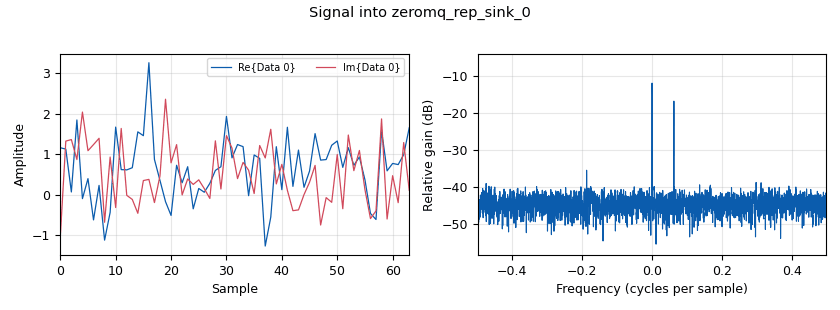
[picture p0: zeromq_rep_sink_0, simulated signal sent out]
<?xml version='1.0' encoding='utf-8'?>
<flow_graph>
<block>
<key>options</key>
<param><key>id</key><value>top_block</value></param>
<param><key>generate_options</key><value>wx_gui</value></param>
<param><key>category</key><value>Custom</value></param>
</block>
<block>
<key>variable</key>
<param><key>id</key><value>samp_rate</value></param>
<param><key>value</key><value>32000</value></param>
</block>
<block>
<key>analog_sig_source_x</key>
<param><key>id</key><value>analog_sig_source_x_0</value></param>
<param><key>type</key><value>complex</value></param>
<param><key>samp_rate</key><value>samp_rate</value></param>
<param><key>waveform</key><value>analog.GR_TRI_WAVE</value></param>
<param><key>freq</key><value>2000</value></param>
<param><key>amp</key><value>1</value></param>
<param><key>offset</key><value>0</value></param>
</block>
<block>
<key>analog_fastnoise_source_x</key>
<param><key>id</key><value>analog_fastnoise_source_x_0</value></param>
<param><key>type</key><value>complex</value></param>
<param><key>noise_type</key><value>analog.GR_GAUSSIAN</value></param>
<param><key>amp</key><value>1</value></param>
<param><key>seed</key><value>0</value></param>
<param><key>samples</key><value>8192</value></param>
</block>
<block>
<key>blocks_add_xx</key>
<param><key>id</key><value>blocks_add_xx_0</value></param>
<param><key>type</key><value>complex</value></param>
</block>
<block>
<key>blocks_throttle</key>
<param><key>id</key><value>blocks_throttle_0</value></param>
<param><key>type</key><value>complex</value></param>
<param><key>samples_per_second</key><value>samp_rate</value></param>
</block>
<block>
<key>wxgui_scopesink2</key>
<param><key>id</key><value>wxgui_scopesink2_0</value></param>
<param><key>type</key><value>complex</value></param>
<param><key>title</key><value>Scope Plot</value></param>
<param><key>samp_rate</key><value>samp_rate</value></param>
<param><key>v_scale</key><value>0</value></param>
<param><key>v_offset</key><value>0</value></param>
<param><key>t_scale</key><value>0</value></param>
<param><key>ac_couple</key><value>False</value></param>
<param><key>xy_mode</key><value>False</value></param>
<param><key>num_inputs</key><value>1</value></param>
<param><key>trig_mode</key><value>wxgui.TRIG_MODE_AUTO</value></param>
<param><key>y_axis_label</key><value>Counts</value></param>
</block>
<block>
<key>zeromq_rep_sink</key>
<param><key>id</key><value>zeromq_rep_sink_0</value></param>
<param><key>type</key><value>complex</value></param>
<param><key>address</key><value>tcp://127.0.0.1:5555</value></param>
<param><key>timeout</key><value>100</value></param>
<param><key>blocking</key><value>True</value></param>
</block>
<block>
<key>zeromq_req_source</key>
<param><key>id</key><value>zeromq_req_source_0</value></param>
<param><key>type</key><value>complex</value></param>
<param><key>address</key><value>tcp://127.0.0.1:5555</value></param>
<param><key>timeout</key><value>100</value></param>
<param><key>blocking</key><value>True</value></param>
</block>
<connection><source_block_id>analog_sig_source_x_0</source_block_id><sink_block_id>blocks_add_xx_0</sink_block_id><source_key>0</source_key><sink_key>0</sink_key></connection>
<connection><source_block_id>analog_fastnoise_source_x_0</source_block_id><sink_block_id>blocks_add_xx_0</sink_block_id><source_key>0</source_key><sink_key>1</sink_key></connection>
<connection><source_block_id>blocks_add_xx_0</source_block_id><sink_block_id>blocks_throttle_0</sink_block_id><source_key>0</source_key><sink_key>0</sink_key></connection>
<connection><source_block_id>blocks_throttle_0</source_block_id><sink_block_id>zeromq_rep_sink_0</sink_block_id><source_key>0</source_key><sink_key>0</sink_key></connection>
<connection><source_block_id>zeromq_req_source_0</source_block_id><sink_block_id>wxgui_scopesink2_0</sink_block_id><source_key>0</source_key><sink_key>0</sink_key></connection>
</flow_graph>
